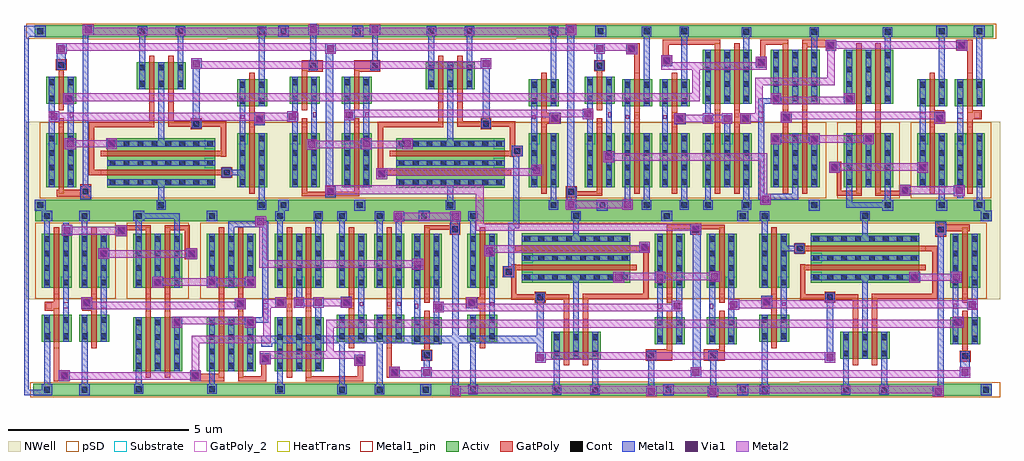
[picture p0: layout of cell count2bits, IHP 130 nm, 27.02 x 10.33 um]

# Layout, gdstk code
from math import pi, radians
import gdstk
lib = gdstk.Library(unit=1e-6, precision=5e-09)
def R(c, l, rs):  # rectangles x0, y0, x1, y1
    for r in rs: c.add(gdstk.rectangle(r[:2], r[2:], *l))
def A(c, l, x, y, w, h, nx, ny, dx, dy):  # array of equal rectangles
    R(c, l, [(x+i*dx, y+j*dy, x+i*dx+w, y+j*dy+h) for i in range(nx) for j in range(ny)])
def P(c, l, *ps):  # polygons
    for p in ps: c.add(gdstk.Polygon(p, *l))
Activ = (1, 0)
GatPoly = (5, 0)
GatPoly_2 = (5, 2)
Cont = (6, 0)
Metal1 = (8, 0)
Metal1_pin = (8, 2)
Metal2 = (10, 0)
pSD = (14, 0)
Via1 = (19, 0)
NWell = (31, 0)
Substrate = (40, 0)
HeatTrans = (51, 0)

nmos_1_1 = lib.new_cell('nmos$1$1')
R(nmos_1_1, Activ, [(0,0,0.3,0.3), (0,0,0.83,1.5), (0.53,0,0.83,0.3)])
R(nmos_1_1, GatPoly, [(0.34,-0.18,0.49,1.68)])
R(nmos_1_1, GatPoly_2, [(0.34,-0.18,0.49,1.68)])
A(nmos_1_1, Cont, 0.07, 0.07, 0.16, 0.16, 1, 4, 0, 0.4)
A(nmos_1_1, Cont, 0.6, 0.07, 0.16, 0.16, 1, 4, 0, 0.4)
R(nmos_1_1, Metal1, [(0.07,0,0.23,1.5), (0.6,0,0.76,1.5)])
R(nmos_1_1, Metal1_pin, [(0.07,0,0.23,1.5), (0.6,0,0.76,1.5)])
R(nmos_1_1, HeatTrans, [(0.34,-0.18,0.49,1.68)])
nmos_1_1.add(gdstk.Label('nmos', (0.415,0.75), layer=63, texttype=0))
nmos_1_1.add(gdstk.Label('nmos', (0.415,0.75), layer=51, texttype=0))

pmos_4 = lib.new_cell('pmos$4')
R(pmos_4, Activ, [(0,0,0.3,0.3), (0,0,0.83,1.5), (0.53,0,0.83,0.3)])
R(pmos_4, GatPoly, [(0.34,-0.18,0.49,1.68), (0.34,-0.18,0.49,1.68)])
A(pmos_4, Cont, 0.07, 0.07, 0.16, 0.16, 1, 4, 0, 0.4)
A(pmos_4, Cont, 0.6, 0.07, 0.16, 0.16, 1, 4, 0, 0.4)
R(pmos_4, Metal1, [(0.07,0,0.23,1.5), (0.07,0,0.23,1.5), (0.6,0,0.76,1.5), (0.6,0,0.76,1.5)])
R(pmos_4, pSD, [(-0.18,-0.3,1.01,1.8)])
R(pmos_4, NWell, [(-0.31,-0.31,1.14,1.81)])
R(pmos_4, Substrate, [(0.53,0,0.83,0.3)])
R(pmos_4, HeatTrans, [(0.34,-0.18,0.49,1.68)])
pmos_4.add(gdstk.Label('pmos', (0.415,0.75), layer=63, texttype=0))
pmos_4.add(gdstk.Label('pmos', (0.415,0.75), layer=51, texttype=0))

nmos = lib.new_cell('nmos')
R(nmos, Activ, [(0,0,0.3,0.3), (0,0,0.83,0.75), (0.53,0,0.83,0.3)])
R(nmos, GatPoly, [(0.34,-0.18,0.49,0.93)])
R(nmos, GatPoly_2, [(0.34,-0.18,0.49,0.93)])
R(nmos, Cont, [(0.07,0.07,0.23,0.23), (0.6,0.07,0.76,0.23), (0.07,0.52,0.23,0.68), (0.6,0.52,0.76,0.68)])
R(nmos, Metal1, [(0.07,0,0.23,0.75), (0.6,0,0.76,0.75)])
R(nmos, Metal1_pin, [(0.07,0,0.23,0.75), (0.6,0,0.76,0.75)])
R(nmos, HeatTrans, [(0.34,-0.18,0.49,0.93)])
nmos.add(gdstk.Label('nmos', (0.415,0.375), layer=63, texttype=0))
nmos.add(gdstk.Label('nmos', (0.415,0.375), layer=51, texttype=0))

pmos_1 = lib.new_cell('pmos$1')
R(pmos_1, Activ, [(0,0,0.3,0.3), (0,0,0.83,1.5), (0.53,0,0.83,0.3)])
R(pmos_1, GatPoly, [(0.34,-0.18,0.49,1.68), (0.34,-0.18,0.49,1.68)])
A(pmos_1, Cont, 0.07, 0.07, 0.16, 0.16, 1, 4, 0, 0.4)
A(pmos_1, Cont, 0.6, 0.07, 0.16, 0.16, 1, 4, 0, 0.4)
R(pmos_1, Metal1, [(0.07,0,0.23,1.5), (0.07,0,0.23,1.5), (0.6,0,0.76,1.5), (0.6,0,0.76,1.5)])
R(pmos_1, pSD, [(-0.18,-0.3,1.01,1.8)])
R(pmos_1, NWell, [(-0.31,-0.31,1.14,1.81)])
R(pmos_1, Substrate, [(0.53,0,0.83,0.3)])
R(pmos_1, HeatTrans, [(0.34,-0.18,0.49,1.68)])
pmos_1.add(gdstk.Label('pmos', (0.415,0.75), layer=63, texttype=0))
pmos_1.add(gdstk.Label('pmos', (0.415,0.75), layer=51, texttype=0))

inverter = lib.new_cell('inverter')
R(inverter, Activ, [(-0.925,-2.62,0.525,-2.29), (-0.925,2.205,0.525,2.505)])
R(inverter, GatPoly, [(-0.275,-0.195,-0.125,0.185)])
R(inverter, GatPoly_2, [(-0.25,-0.14,-0.155,-0.04)])
R(inverter, Cont, [(-0.545,-2.535,-0.385,-2.375), (-0.545,-2.535,-0.385,-2.375), (-0.545,2.275,-0.385,2.435)])
R(inverter, Metal1, [(-0.595,-2.585,-0.335,-2.325), (-0.545,-2.325,-0.385,-0.845), (-0.015,-0.375,0.145,0.365), (-0.545,1.865,-0.385,2.275), (-0.595,2.225,-0.335,2.485)])
R(inverter, Metal1_pin, [(0.02,-0.135,0.12,-0.03)])
R(inverter, pSD, [(-0.925,-2.66,0.525,-2.245)])
R(inverter, NWell, [(-0.925,2.175,0.525,2.745)])
inverter.add(gdstk.Reference(nmos, (-0.615,-1.125)))
inverter.add(gdstk.Reference(pmos_1, (-0.615,0.365)))
inverter.add(gdstk.Label('vss', (-0.475,-2.43), layer=8, texttype=2))
inverter.add(gdstk.Label('vdd', (-0.465,2.355), layer=8, texttype=2))
inverter.add(gdstk.Label('out', (0.06,-0.09), layer=8, texttype=2))
inverter.add(gdstk.Label('in', (-0.205,-0.09), layer=5, texttype=2))

andgate = lib.new_cell('andgate')
R(andgate, Activ, [(-0.62,-2.62,1.185,-2.29), (-0.685,2.205,1.235,2.505)])
R(andgate, GatPoly, [(-0.275,-0.265,-0.125,0.185), (0.255,-0.265,0.405,0.185), (1.23,-0.19,1.445,0.11)])
R(andgate, GatPoly_2, [(0.26,-0.185,0.39,-0.065), (-0.25,-0.18,-0.16,-0.07)])
R(andgate, Cont, [(-0.545,-2.52,-0.385,-2.36), (-0.545,-2.52,-0.385,-2.36), (1.3,-0.12,1.46,0.04), (-0.545,2.275,-0.385,2.435), (0.515,2.275,0.675,2.435)])
R(andgate, Metal1, [(-0.595,-2.57,-0.335,-2.31), (-0.545,-2.36,-0.385,-1.945), (0.515,-0.445,0.675,-0.185), (-0.08,-0.185,0.21,0.105), (0.45,-0.185,0.74,0.105), (1.215,-0.185,1.525,0.115), (-0.015,0.105,0.145,0.365), (-0.545,1.865,-0.385,2.275), (0.515,1.865,0.675,2.435), (-0.595,2.225,-0.335,2.485), (0.465,2.225,0.725,2.485)])
R(andgate, Metal1_pin, [(-0.545,2.275,-0.385,2.435)])
P(andgate, Metal1_pin, [(-0.545,-2.31),(-0.545,-2.31),(-0.385,-2.31),(-0.385,-2.31)])
R(andgate, Metal2, [(-0.08,-0.185,0.21,0.105), (0.45,-0.185,0.74,0.105), (1.235,-0.185,1.525,0.105), (0.21,-0.14,0.45,0.06), (0.74,-0.14,1.235,0.06)])
R(andgate, pSD, [(-0.925,-2.66,1.105,-2.245)])
R(andgate, Via1, [(-0.03,-0.135,0.16,0.055), (0.5,-0.135,0.69,0.055), (1.285,-0.135,1.475,0.055)])
R(andgate, NWell, [(-0.925,2.175,1.105,2.745)])
andgate.add(gdstk.Reference(nmos_1_1, (0.745,-0.445), rotation=pi))
andgate.add(gdstk.Reference(pmos_4, (-0.085,0.365)))
andgate.add(gdstk.Reference(pmos_4, (-0.615,0.365)))
andgate.add(gdstk.Reference(nmos_1_1, (-0.615,-1.945)))
andgate.add(gdstk.Reference(inverter, (1.72,0)))
andgate.add(gdstk.Label('vdd', (-0.475,2.38), layer=8, texttype=2))
andgate.add(gdstk.Label('vss', (-0.485,-2.425), layer=8, texttype=2))
andgate.add(gdstk.Label('b', (-0.18,-0.13), layer=5, texttype=2))
andgate.add(gdstk.Label('a', (0.325,-0.125), layer=5, texttype=2))

nmos_1 = lib.new_cell('nmos$1')
R(nmos_1, Activ, [(0,0,0.3,0.3), (0,0,0.83,1.5), (0.53,0,0.83,0.3)])
R(nmos_1, GatPoly, [(0.34,-0.18,0.49,1.68)])
R(nmos_1, GatPoly_2, [(0.34,-0.18,0.49,1.68)])
A(nmos_1, Cont, 0.07, 0.07, 0.16, 0.16, 1, 4, 0, 0.4)
A(nmos_1, Cont, 0.6, 0.07, 0.16, 0.16, 1, 4, 0, 0.4)
R(nmos_1, Metal1, [(0.07,0,0.23,1.5), (0.6,0,0.76,1.5)])
R(nmos_1, Metal1_pin, [(0.07,0,0.23,1.5), (0.6,0,0.76,1.5)])
R(nmos_1, HeatTrans, [(0.34,-0.18,0.49,1.68)])
nmos_1.add(gdstk.Label('nmos', (0.415,0.75), layer=63, texttype=0))
nmos_1.add(gdstk.Label('nmos', (0.415,0.75), layer=51, texttype=0))

pmos = lib.new_cell('pmos')
R(pmos, Activ, [(0,0,0.3,0.3), (0,0,0.83,1.5), (0.53,0,0.83,0.3)])
R(pmos, GatPoly, [(0.34,-0.18,0.49,1.68), (0.34,-0.18,0.49,1.68)])
A(pmos, Cont, 0.07, 0.07, 0.16, 0.16, 1, 4, 0, 0.4)
A(pmos, Cont, 0.6, 0.07, 0.16, 0.16, 1, 4, 0, 0.4)
R(pmos, Metal1, [(0.07,0,0.23,1.5), (0.07,0,0.23,1.5), (0.6,0,0.76,1.5), (0.6,0,0.76,1.5)])
R(pmos, pSD, [(-0.18,-0.3,1.01,1.8)])
R(pmos, NWell, [(-0.31,-0.31,1.14,1.81)])
R(pmos, Substrate, [(0.53,0,0.83,0.3)])
R(pmos, HeatTrans, [(0.34,-0.18,0.49,1.68)])
pmos.add(gdstk.Label('pmos', (0.415,0.75), layer=63, texttype=0))
pmos.add(gdstk.Label('pmos', (0.415,0.75), layer=51, texttype=0))

nmos_4 = lib.new_cell('nmos$4')
R(nmos_4, Activ, [(0,0,0.3,0.3), (0,0,0.83,0.75), (0.53,0,0.83,0.3)])
R(nmos_4, GatPoly, [(0.34,-0.18,0.49,0.93)])
R(nmos_4, GatPoly_2, [(0.34,-0.18,0.49,0.93)])
R(nmos_4, Cont, [(0.07,0.07,0.23,0.23), (0.6,0.07,0.76,0.23), (0.07,0.52,0.23,0.68), (0.6,0.52,0.76,0.68)])
R(nmos_4, Metal1, [(0.07,0,0.23,0.75), (0.6,0,0.76,0.75)])
R(nmos_4, Metal1_pin, [(0.07,0,0.23,0.75), (0.6,0,0.76,0.75)])
R(nmos_4, HeatTrans, [(0.34,-0.18,0.49,0.93)])
nmos_4.add(gdstk.Label('nmos', (0.415,0.375), layer=63, texttype=0))
nmos_4.add(gdstk.Label('nmos', (0.415,0.375), layer=51, texttype=0))

pmos_4_1 = lib.new_cell('pmos$4$1')
R(pmos_4_1, Activ, [(0,0,0.3,0.3), (0,0,0.83,1.5), (0.53,0,0.83,0.3)])
R(pmos_4_1, GatPoly, [(0.34,-0.18,0.49,1.68), (0.34,-0.18,0.49,1.68)])
A(pmos_4_1, Cont, 0.07, 0.07, 0.16, 0.16, 1, 4, 0, 0.4)
A(pmos_4_1, Cont, 0.6, 0.07, 0.16, 0.16, 1, 4, 0, 0.4)
R(pmos_4_1, Metal1, [(0.07,0,0.23,1.5), (0.07,0,0.23,1.5), (0.6,0,0.76,1.5), (0.6,0,0.76,1.5)])
R(pmos_4_1, pSD, [(-0.18,-0.3,1.01,1.8)])
R(pmos_4_1, NWell, [(-0.31,-0.31,1.14,1.81)])
R(pmos_4_1, Substrate, [(0.53,0,0.83,0.3)])
R(pmos_4_1, HeatTrans, [(0.34,-0.18,0.49,1.68)])
pmos_4_1.add(gdstk.Label('pmos', (0.415,0.75), layer=63, texttype=0))
pmos_4_1.add(gdstk.Label('pmos', (0.415,0.75), layer=51, texttype=0))

inverter_3 = lib.new_cell('inverter$3')
R(inverter_3, Activ, [(-0.845,-2.62,0.395,-2.29), (-0.795,2.205,0.285,2.505)])
R(inverter_3, GatPoly, [(-0.525,-0.265,-0.275,-0.015), (-0.275,-0.195,-0.125,0.185)])
R(inverter_3, GatPoly_2, [(-0.485,-0.215,-0.325,-0.055)])
R(inverter_3, Cont, [(-0.545,-2.535,-0.385,-2.375), (-0.545,-2.535,-0.385,-2.375), (-0.545,2.275,-0.385,2.435)])
R(inverter_3, Metal1, [(-0.545,-2.535,-0.38,-0.845), (-0.015,-0.375,0.145,0.365), (-0.545,1.865,-0.385,2.435)])
R(inverter_3, Metal1_pin, [(-0.015,-0.195,0.145,-0.035)])
R(inverter_3, pSD, [(-0.925,-2.66,0.525,-2.245)])
R(inverter_3, NWell, [(-0.925,2.175,0.525,2.745)])
inverter_3.add(gdstk.Reference(nmos_4, (-0.615,-1.125)))
inverter_3.add(gdstk.Reference(pmos_4_1, (-0.615,0.365)))
inverter_3.add(gdstk.Label('vss', (-0.475,-2.43), layer=8, texttype=2))
inverter_3.add(gdstk.Label('vdd', (-0.465,2.355), layer=8, texttype=2))
inverter_3.add(gdstk.Label('out', (0.06,-0.09), layer=8, texttype=2))
inverter_3.add(gdstk.Label('in', (-0.45,-0.11), layer=5, texttype=2))

xorgate = lib.new_cell('xorgate')
R(xorgate, Activ, [(-5.415,-2.62,1.055,-2.29), (-0.845,-2.62,1.055,-2.29), (-5.27,2.205,1.055,2.505)])
R(xorgate, GatPoly, [(-1.075,-2.22,-0.775,-1.92), (-0.775,-2.22,-0.125,-2.015), (-4.845,-2.215,-4.695,-1.305), (-4.705,-2.215,-4.4,-1.915), (-2.305,-0.265,-2.155,0.185), (-1.775,-0.265,-1.625,0.185), (-0.275,-0.265,-0.125,0.185), (0.255,-0.265,0.405,0.185), (0.165,-0.225,0.465,0.075), (-4.085,-0.195,-3.785,0.105), (-1.215,1.16,-1.085,2.095), (-1.175,1.16,-0.875,1.46), (-3.125,1.795,-2.825,2.095), (-3.07,1.85,-2.88,2.04), (-2.825,1.965,-2.155,2.095), (-1.775,1.965,-1.215,2.095)])
R(xorgate, GatPoly_2, [(-5.055,-0.215,-4.895,-0.055)])
R(xorgate, Cont, [(-2.575,-2.52,-2.415,-2.36), (-0.545,-2.52,-0.385,-2.36), (-1.005,-2.15,-0.845,-1.99), (-4.63,-2.145,-4.47,-1.985), (0.235,-0.155,0.395,0.005), (-4.015,-0.125,-3.855,0.035), (-1.105,1.23,-0.945,1.39), (-3.055,1.865,-2.895,2.025), (-2.575,2.275,-2.415,2.435), (-0.545,2.275,-0.385,2.435)])
R(xorgate, Metal1, [(-5.185,-2.605,-4.885,-2.305), (-4.145,-2.605,-3.845,-2.305), (-2.625,-2.57,-2.365,-2.31), (-0.595,-2.57,-0.335,-2.31), (-2.575,-2.52,-2.415,-0.445), (-0.545,-2.52,-0.385,-1.715), (-1.075,-2.22,-0.775,-1.92), (-4.705,-2.215,-4.405,-1.915), (-1.005,-2.15,-0.845,-1.99), (-4.63,-2.145,-4.47,-1.985), (0.445,-0.745,0.745,-0.445), (-1.585,-0.74,-1.285,-0.44), (0.675,-0.605,0.925,-0.445), (0.925,-0.605,1.085,-0.225), (0.165,-0.225,0.465,0.075), (0.925,-0.225,1.085,2.045), (-4.085,-0.195,-3.785,0.105), (0.235,-0.155,0.395,0.005), (-4.015,-0.125,-3.855,0.035), (-2.575,0.365,-2.415,2.435), (-2.115,0.365,-1.815,0.665), (-0.615,0.365,-0.315,0.665), (0.445,0.365,0.745,0.665), (-1.175,1.16,-0.875,1.46), (-3.615,1.165,-3.315,1.465), (-1.105,1.23,-0.945,1.39), (-3.125,1.795,-2.825,2.095), (-4.63,1.805,-4.33,2.105), (-4.585,1.865,-4.425,2.165), (-3.055,1.865,-2.895,2.025), (-2.575,1.865,-2.415,2.435), (-1.515,1.865,-1.355,2.435), (-0.015,1.865,0.145,2.045), (-0.015,2.045,1.085,2.205), (-5.185,2.205,-4.885,2.505), (-4.145,2.205,-3.845,2.505), (-2.645,2.205,-2.345,2.505), (-0.615,2.205,-0.315,2.505), (-2.575,2.275,-1.355,2.435), (-0.545,2.275,-0.385,2.435)])
R(xorgate, Metal1_pin, [(-2.575,-2.52,-2.415,-2.355), (0.925,-0.225,1.085,-0.065), (-2.575,2.275,-2.415,2.435), (-0.545,2.275,-0.385,2.435)])
R(xorgate, Metal2, [(-1.075,-2.22,-0.775,-1.92), (-4.705,-2.215,-4.405,-1.915), (-4.405,-2.18,-1.075,-1.97), (0.445,-0.745,0.745,-0.445), (-1.585,-0.74,-1.285,-0.44), (-1.515,-0.65,0.675,-0.44), (-4.085,-0.225,0.405,-0.015), (0.165,-0.225,0.465,0.075), (-4.085,-0.195,-3.785,0.105), (-2.115,0.365,-1.815,0.665), (-0.615,0.365,-0.315,0.665), (0.445,0.365,0.745,0.665), (-0.53,0.415,0.675,0.625), (-2.045,0.42,-0.385,0.63), (-1.175,1.16,-0.875,1.46), (-3.615,1.165,-3.315,1.465), (-3.56,1.195,-2.94,1.405), (-2.94,1.195,-0.915,1.405), (-3.125,1.795,-2.825,2.095), (-4.63,1.805,-4.33,2.105), (-4.33,1.84,-3.125,2.05)])
R(xorgate, pSD, [(-5.495,-2.66,-0.925,-2.245), (-0.925,-2.66,1.055,-2.245)])
R(xorgate, Via1, [(-1.02,-2.165,-0.83,-1.975), (-4.645,-2.16,-4.455,-1.97), (0.5,-0.69,0.69,-0.5), (0.5,-0.69,0.69,-0.5), (-1.53,-0.685,-1.34,-0.495), (0.22,-0.17,0.41,0.02), (-4.03,-0.14,-3.84,0.05), (-2.06,0.425,-1.87,0.615), (0.51,0.425,0.7,0.615), (-0.56,0.44,-0.37,0.63), (-3.56,1.215,-3.37,1.405), (-1.12,1.215,-0.93,1.405), (-3.07,1.85,-2.88,2.04), (-4.575,1.855,-4.385,2.045)])
R(xorgate, NWell, [(-5.605,0.055,1.055,2.745), (-0.925,2.175,1.055,2.745)])
xorgate.add(gdstk.Reference(nmos_1, (0.745,-0.445), rotation=pi))
xorgate.add(gdstk.Reference(nmos_1, (-0.615,-1.945)))
xorgate.add(gdstk.Reference(pmos, (-0.615,0.365)))
xorgate.add(gdstk.Reference(pmos, (-0.085,0.365)))
xorgate.add(gdstk.Reference(pmos, (-2.645,0.365)))
xorgate.add(gdstk.Reference(nmos_1, (-1.285,-0.445), rotation=pi))
xorgate.add(gdstk.Reference(nmos_1, (-2.645,-1.945)))
xorgate.add(gdstk.Reference(inverter_3, (-3.53,0)))
xorgate.add(gdstk.Reference(pmos, (-2.115,0.365)))
xorgate.add(gdstk.Reference(inverter_3, (-4.57,0)))
xorgate.add(gdstk.Label('out', (1.005,-0.15), layer=8, texttype=2))
xorgate.add(gdstk.Label('vss', (-5.035,-2.455), layer=8, texttype=2))
xorgate.add(gdstk.Label('vdd', (-5.035,2.355), layer=8, texttype=2))
xorgate.add(gdstk.Label('vdd', (-2.505,2.38), layer=8, texttype=2))
xorgate.add(gdstk.Label('vss', (-2.515,-2.425), layer=8, texttype=2))
xorgate.add(gdstk.Label('vdd', (-0.475,2.38), layer=8, texttype=2))
xorgate.add(gdstk.Label('a', (-3.93,-0.05), layer=5, texttype=2))
xorgate.add(gdstk.Label('b', (-4.975,-0.135), layer=5, texttype=2))

nmos_5_2_3 = lib.new_cell('nmos$5$2$3')
R(nmos_5_2_3, Activ, [(0,0,0.3,0.3), (0,0,0.83,0.75), (0.53,0,0.83,0.3)])
R(nmos_5_2_3, GatPoly, [(0.34,-0.18,0.49,0.93)])
R(nmos_5_2_3, GatPoly_2, [(0.34,-0.18,0.49,0.93)])
R(nmos_5_2_3, Cont, [(0.07,0.07,0.23,0.23), (0.6,0.07,0.76,0.23), (0.07,0.52,0.23,0.68), (0.6,0.52,0.76,0.68)])
R(nmos_5_2_3, Metal1, [(0.07,0,0.23,0.75), (0.6,0,0.76,0.75)])
R(nmos_5_2_3, Metal1_pin, [(0.07,0,0.23,0.75), (0.6,0,0.76,0.75)])
R(nmos_5_2_3, HeatTrans, [(0.34,-0.18,0.49,0.93)])
nmos_5_2_3.add(gdstk.Label('nmos', (0.415,0.375), layer=63, texttype=0))
nmos_5_2_3.add(gdstk.Label('nmos', (0.415,0.375), layer=51, texttype=0))

pmos_5_1_3 = lib.new_cell('pmos$5$1$3')
R(pmos_5_1_3, Activ, [(0,0,0.3,0.3), (0,0,0.83,3), (0.53,0,0.83,0.3)])
R(pmos_5_1_3, GatPoly, [(0.34,-0.18,0.49,3.18), (0.34,-0.18,0.49,3.18)])
A(pmos_5_1_3, Cont, 0.07, 0.07, 0.16, 0.16, 1, 7, 0, 0.385)
A(pmos_5_1_3, Cont, 0.6, 0.07, 0.16, 0.16, 1, 7, 0, 0.385)
R(pmos_5_1_3, Cont, [(0.07,2.77,0.23,2.93), (0.6,2.77,0.76,2.93)])
R(pmos_5_1_3, Metal1, [(0.07,0,0.23,3), (0.07,0,0.23,3), (0.6,0,0.76,3), (0.6,0,0.76,3)])
R(pmos_5_1_3, pSD, [(-0.18,-0.3,1.01,3.3)])
R(pmos_5_1_3, NWell, [(-0.31,-0.31,1.14,3.31)])
R(pmos_5_1_3, Substrate, [(0.53,0,0.83,0.3)])
R(pmos_5_1_3, HeatTrans, [(0.34,-0.18,0.49,3.18)])
pmos_5_1_3.add(gdstk.Label('pmos', (0.415,1.5), layer=63, texttype=0))
pmos_5_1_3.add(gdstk.Label('pmos', (0.415,1.5), layer=51, texttype=0))

norgate_1_3 = lib.new_cell('norgate$1$3')
R(norgate_1_3, Activ, [(-1.48,-2.5,2.355,-2.17), (-1.47,2.325,2.355,2.625)])
R(norgate_1_3, GatPoly, [(-0.01,-0.56,0.14,0.15), (0.52,-0.56,0.67,0.17), (-1.47,0.15,0.14,0.3), (0.52,0.17,2.19,0.32), (2.19,0.17,2.34,1.645), (-1.47,0.3,-1.32,1.135), (-1.47,0.965,-1.35,1.135), (2.01,1.495,2.19,1.645)])
R(norgate_1_3, GatPoly_2, [(0.005,-0.49,0.13,-0.38), (0.535,-0.49,0.66,-0.38)])
R(norgate_1_3, Cont, [(-0.28,-2.43,-0.12,-2.27), (-0.28,-2.43,-0.12,-2.27), (0.78,-2.43,0.94,-2.27), (0.78,-2.43,0.94,-2.27), (0.255,2.395,0.415,2.555)])
R(norgate_1_3, Metal1, [(-0.335,-2.48,-0.075,-2.22), (0.725,-2.48,0.985,-2.22), (-0.28,-2.43,-0.12,-0.74), (0.78,-2.43,0.94,-0.74), (0.25,-0.74,0.41,0.695), (0.25,1.915,0.41,2.345), (0.2,2.345,0.46,2.605)])
R(norgate_1_3, Metal1_pin, [(-0.25,-2.39,-0.17,-2.3), (0.81,-2.39,0.89,-2.3), (0.255,2.395,0.415,2.555)])
R(norgate_1_3, pSD, [(-1.48,-2.54,2.355,-2.125)])
R(norgate_1_3, NWell, [(-1.47,0.315,2.355,2.865), (-1.47,2.295,2.355,2.865)])
norgate_1_3.add(gdstk.Reference(nmos_5_2_3, (1.01,-0.74), rotation=pi))
norgate_1_3.add(gdstk.Reference(nmos_5_2_3, (-0.35,-1.49)))
norgate_1_3.add(gdstk.Reference(pmos_5_1_3, (-1.17,1.985), rotation=3*pi/2))
norgate_1_3.add(gdstk.Reference(pmos_5_1_3, (-1.17,1.455), rotation=3*pi/2))
norgate_1_3.add(gdstk.Label('vdd', (0.325,2.5), layer=8, texttype=2))
norgate_1_3.add(gdstk.Label('vss', (-0.22,-2.335), layer=8, texttype=2))
norgate_1_3.add(gdstk.Label('vss', (0.84,-2.335), layer=8, texttype=2))
norgate_1_3.add(gdstk.Label('b', (0.07,-0.44), layer=5, texttype=2))
norgate_1_3.add(gdstk.Label('a', (0.6,-0.44), layer=5, texttype=2))

nmos_1_5 = lib.new_cell('nmos$1$5')
R(nmos_1_5, Activ, [(0,0,0.3,0.3), (0,0,0.83,0.75), (0.53,0,0.83,0.3)])
R(nmos_1_5, GatPoly, [(0.34,-0.18,0.49,0.93)])
R(nmos_1_5, GatPoly_2, [(0.34,-0.18,0.49,0.93)])
R(nmos_1_5, Cont, [(0.07,0.07,0.23,0.23), (0.6,0.07,0.76,0.23), (0.07,0.52,0.23,0.68), (0.6,0.52,0.76,0.68)])
R(nmos_1_5, Metal1, [(0.07,0,0.23,0.75), (0.6,0,0.76,0.75)])
R(nmos_1_5, Metal1_pin, [(0.07,0,0.23,0.75), (0.6,0,0.76,0.75)])
R(nmos_1_5, HeatTrans, [(0.34,-0.18,0.49,0.93)])
nmos_1_5.add(gdstk.Label('nmos', (0.415,0.375), layer=63, texttype=0))
nmos_1_5.add(gdstk.Label('nmos', (0.415,0.375), layer=51, texttype=0))

pmos_2_3 = lib.new_cell('pmos$2$3')
R(pmos_2_3, Activ, [(0,0,0.3,0.3), (0,0,0.83,1.5), (0.53,0,0.83,0.3)])
R(pmos_2_3, GatPoly, [(0.34,-0.18,0.49,1.68), (0.34,-0.18,0.49,1.68)])
A(pmos_2_3, Cont, 0.07, 0.07, 0.16, 0.16, 1, 4, 0, 0.4)
A(pmos_2_3, Cont, 0.6, 0.07, 0.16, 0.16, 1, 4, 0, 0.4)
R(pmos_2_3, Metal1, [(0.07,0,0.23,1.5), (0.07,0,0.23,1.5), (0.6,0,0.76,1.5), (0.6,0,0.76,1.5)])
R(pmos_2_3, pSD, [(-0.18,-0.3,1.01,1.8)])
R(pmos_2_3, NWell, [(-0.31,-0.31,1.14,1.81)])
R(pmos_2_3, Substrate, [(0.53,0,0.83,0.3)])
R(pmos_2_3, HeatTrans, [(0.34,-0.18,0.49,1.68)])
pmos_2_3.add(gdstk.Label('pmos', (0.415,0.75), layer=63, texttype=0))
pmos_2_3.add(gdstk.Label('pmos', (0.415,0.75), layer=51, texttype=0))

inverter_1_3 = lib.new_cell('inverter$1$3')
R(inverter_1_3, Activ, [(-0.925,-2.62,0.525,-2.29), (-0.925,2.205,0.525,2.505)])
R(inverter_1_3, GatPoly, [(-0.275,-0.195,-0.125,0.185)])
R(inverter_1_3, GatPoly_2, [(-0.25,-0.14,-0.155,-0.04)])
R(inverter_1_3, Cont, [(-0.545,-2.535,-0.385,-2.375), (-0.545,-2.535,-0.385,-2.375), (-0.545,2.275,-0.385,2.435)])
R(inverter_1_3, Metal1, [(-0.595,-2.585,-0.335,-2.325), (-0.545,-2.325,-0.385,-0.845), (-0.015,-0.375,0.145,0.365), (-0.545,1.865,-0.385,2.275), (-0.595,2.225,-0.335,2.485)])
R(inverter_1_3, Metal1_pin, [(0.02,-0.135,0.12,-0.03)])
R(inverter_1_3, pSD, [(-0.925,-2.66,0.525,-2.245)])
R(inverter_1_3, NWell, [(-0.925,2.175,0.525,2.745)])
inverter_1_3.add(gdstk.Reference(nmos_1_5, (-0.615,-1.125)))
inverter_1_3.add(gdstk.Reference(pmos_2_3, (-0.615,0.365)))
inverter_1_3.add(gdstk.Label('vss', (-0.475,-2.43), layer=8, texttype=2))
inverter_1_3.add(gdstk.Label('vdd', (-0.465,2.355), layer=8, texttype=2))
inverter_1_3.add(gdstk.Label('out', (0.06,-0.09), layer=8, texttype=2))
inverter_1_3.add(gdstk.Label('in', (-0.205,-0.09), layer=5, texttype=2))

nmos_5_3_3 = lib.new_cell('nmos$5$3$3')
R(nmos_5_3_3, Activ, [(0,0,0.3,0.3), (0,0,0.83,0.75), (0.53,0,0.83,0.3)])
R(nmos_5_3_3, GatPoly, [(0.34,-0.18,0.49,0.93)])
R(nmos_5_3_3, GatPoly_2, [(0.34,-0.18,0.49,0.93)])
R(nmos_5_3_3, Cont, [(0.07,0.07,0.23,0.23), (0.6,0.07,0.76,0.23), (0.07,0.52,0.23,0.68), (0.6,0.52,0.76,0.68)])
R(nmos_5_3_3, Metal1, [(0.07,0,0.23,0.75), (0.6,0,0.76,0.75)])
R(nmos_5_3_3, Metal1_pin, [(0.07,0,0.23,0.75), (0.6,0,0.76,0.75)])
R(nmos_5_3_3, HeatTrans, [(0.34,-0.18,0.49,0.93)])
nmos_5_3_3.add(gdstk.Label('nmos', (0.415,0.375), layer=63, texttype=0))
nmos_5_3_3.add(gdstk.Label('nmos', (0.415,0.375), layer=51, texttype=0))

pmos_3_3 = lib.new_cell('pmos$3$3')
R(pmos_3_3, Activ, [(0,0,0.3,0.3), (0,0,0.83,1.5), (0.53,0,0.83,0.3)])
R(pmos_3_3, GatPoly, [(0.34,-0.18,0.49,1.68), (0.34,-0.18,0.49,1.68)])
A(pmos_3_3, Cont, 0.07, 0.07, 0.16, 0.16, 1, 4, 0, 0.4)
A(pmos_3_3, Cont, 0.6, 0.07, 0.16, 0.16, 1, 4, 0, 0.4)
R(pmos_3_3, Metal1, [(0.07,0,0.23,1.5), (0.07,0,0.23,1.5), (0.6,0,0.76,1.5), (0.6,0,0.76,1.5)])
R(pmos_3_3, pSD, [(-0.18,-0.3,1.01,1.8)])
R(pmos_3_3, NWell, [(-0.31,-0.31,1.14,1.81)])
R(pmos_3_3, Substrate, [(0.53,0,0.83,0.3)])
R(pmos_3_3, HeatTrans, [(0.34,-0.18,0.49,1.68)])
pmos_3_3.add(gdstk.Label('pmos', (0.415,0.75), layer=63, texttype=0))
pmos_3_3.add(gdstk.Label('pmos', (0.415,0.75), layer=51, texttype=0))

transmissiongate_1_3 = lib.new_cell('transmissiongate$1$3')
R(transmissiongate_1_3, Activ, [(2.295,-2.62,3.745,-2.29), (2.315,2.205,3.745,2.505)])
R(transmissiongate_1_3, GatPoly, [(2.945,-0.055,3.095,0.185)])
R(transmissiongate_1_3, GatPoly_2, [(2.98,-0.43,3.09,-0.27), (2.96,-0.055,3.08,0.105)])
R(transmissiongate_1_3, Cont, [(2.91,-2.54,3.07,-2.38), (2.86,2.275,3.02,2.435)])
R(transmissiongate_1_3, Metal1, [(2.91,-2.54,3.07,-2.38), (2.91,-2.54,3.07,-2.38), (2.675,-0.445,2.835,-0.21), (3.205,-0.445,3.365,-0.21), (2.675,-0.21,2.835,0.365), (3.205,-0.21,3.365,0.365), (2.86,2.275,3.02,2.435)])
R(transmissiongate_1_3, Metal1_pin, [(2.91,-2.54,3.07,-2.38), (2.69,-0.21,2.785,-0.07), (3.205,-0.21,3.365,-0.07), (2.86,2.275,3.02,2.435)])
R(transmissiongate_1_3, pSD, [(2.295,-2.66,3.745,-2.245)])
R(transmissiongate_1_3, NWell, [(2.295,2.175,3.745,2.745)])
transmissiongate_1_3.add(gdstk.Reference(nmos_5_3_3, (2.605,-1.195)))
transmissiongate_1_3.add(gdstk.Reference(pmos_3_3, (2.605,0.365)))
transmissiongate_1_3.add(gdstk.Label('vdd', (2.93,2.38), layer=8, texttype=2))
transmissiongate_1_3.add(gdstk.Label('vss', (2.985,-2.46), layer=8, texttype=2))
transmissiongate_1_3.add(gdstk.Label('out', (3.285,-0.14), layer=8, texttype=2))
transmissiongate_1_3.add(gdstk.Label('in', (2.73,-0.14), layer=8, texttype=2))
transmissiongate_1_3.add(gdstk.Label('en', (3.015,-0.355), layer=5, texttype=2))
transmissiongate_1_3.add(gdstk.Label('noten', (3.025,0.02), layer=5, texttype=2))

nmos_5_6 = lib.new_cell('nmos$5$6')
R(nmos_5_6, Activ, [(0,0,0.3,0.3), (0,0,0.83,0.75), (0.53,0,0.83,0.3)])
R(nmos_5_6, GatPoly, [(0.34,-0.18,0.49,0.93)])
R(nmos_5_6, GatPoly_2, [(0.34,-0.18,0.49,0.93)])
R(nmos_5_6, Cont, [(0.07,0.07,0.23,0.23), (0.6,0.07,0.76,0.23), (0.07,0.52,0.23,0.68), (0.6,0.52,0.76,0.68)])
R(nmos_5_6, Metal1, [(0.07,0,0.23,0.75), (0.6,0,0.76,0.75)])
R(nmos_5_6, Metal1_pin, [(0.07,0,0.23,0.75), (0.6,0,0.76,0.75)])
R(nmos_5_6, HeatTrans, [(0.34,-0.18,0.49,0.93)])
nmos_5_6.add(gdstk.Label('nmos', (0.415,0.375), layer=63, texttype=0))
nmos_5_6.add(gdstk.Label('nmos', (0.415,0.375), layer=51, texttype=0))

pmos_8 = lib.new_cell('pmos$8')
R(pmos_8, Activ, [(0,0,0.3,0.3), (0,0,0.83,1.5), (0.53,0,0.83,0.3)])
R(pmos_8, GatPoly, [(0.34,-0.18,0.49,1.68), (0.34,-0.18,0.49,1.68)])
A(pmos_8, Cont, 0.07, 0.07, 0.16, 0.16, 1, 4, 0, 0.4)
A(pmos_8, Cont, 0.6, 0.07, 0.16, 0.16, 1, 4, 0, 0.4)
R(pmos_8, Metal1, [(0.07,0,0.23,1.5), (0.07,0,0.23,1.5), (0.6,0,0.76,1.5), (0.6,0,0.76,1.5)])
R(pmos_8, pSD, [(-0.18,-0.3,1.01,1.8)])
R(pmos_8, NWell, [(-0.31,-0.31,1.14,1.81)])
R(pmos_8, Substrate, [(0.53,0,0.83,0.3)])
R(pmos_8, HeatTrans, [(0.34,-0.18,0.49,1.68)])
pmos_8.add(gdstk.Label('pmos', (0.415,0.75), layer=63, texttype=0))
pmos_8.add(gdstk.Label('pmos', (0.415,0.75), layer=51, texttype=0))

transmissiongate_4 = lib.new_cell('transmissiongate$4')
R(transmissiongate_4, Activ, [(2.295,-2.62,3.745,-2.29), (2.315,2.205,3.745,2.505)])
R(transmissiongate_4, GatPoly, [(2.945,-0.055,3.095,0.185)])
R(transmissiongate_4, GatPoly_2, [(2.98,-0.43,3.09,-0.27), (2.96,-0.055,3.08,0.105)])
R(transmissiongate_4, Cont, [(3.52,-2.54,3.68,-2.38), (3.52,2.275,3.68,2.435)])
R(transmissiongate_4, Metal1, [(3.52,-2.54,3.68,-2.38), (3.52,-2.54,3.68,-2.38), (2.675,-0.445,2.835,-0.21), (3.205,-0.445,3.365,-0.21), (2.675,-0.21,2.835,0.365), (3.205,-0.21,3.365,0.365), (3.52,2.275,3.68,2.435)])
R(transmissiongate_4, Metal1_pin, [(3.52,-2.54,3.68,-2.38), (2.69,-0.21,2.785,-0.07), (3.205,-0.21,3.365,-0.07), (3.52,2.275,3.68,2.435)])
R(transmissiongate_4, pSD, [(2.295,-2.66,3.745,-2.245)])
R(transmissiongate_4, NWell, [(2.295,2.175,3.745,2.745)])
transmissiongate_4.add(gdstk.Reference(nmos_5_6, (2.605,-1.195)))
transmissiongate_4.add(gdstk.Reference(pmos_8, (2.605,0.365)))
transmissiongate_4.add(gdstk.Label('vdd', (3.59,2.38), layer=8, texttype=2))
transmissiongate_4.add(gdstk.Label('vss', (3.595,-2.46), layer=8, texttype=2))
transmissiongate_4.add(gdstk.Label('out', (3.285,-0.14), layer=8, texttype=2))
transmissiongate_4.add(gdstk.Label('in', (2.73,-0.14), layer=8, texttype=2))
transmissiongate_4.add(gdstk.Label('en', (3.015,-0.355), layer=5, texttype=2))
transmissiongate_4.add(gdstk.Label('noten', (3.025,0.02), layer=5, texttype=2))

dff_3 = lib.new_cell('dff$3')
R(dff_3, Activ, [(2.745,-2.62,19.105,-2.29), (2.745,2.205,19.105,2.505)])
R(dff_3, GatPoly, [(2.36,-2.125,2.51,-1.305), (2.51,-2.125,2.73,-1.825), (18.225,-1.675,18.525,-1.375), (3.325,-1.655,3.625,-1.355), (9.54,-1.655,10.27,-1.33), (11.14,-1.655,11.715,-1.33), (4.555,-0.2,4.94,0.105), (12.735,-0.195,13.015,0.145), (6.465,-0.045,6.765,0.255), (14.485,-0.045,14.785,0.255), (13.645,1.305,13.945,1.605), (13.685,1.38,13.925,1.53), (17.55,1.78,17.85,2.135), (4.105,1.835,4.405,2.135), (10.77,1.835,11.07,2.135), (17.65,1.935,18.275,2.125), (18.275,1.935,18.5,2.125), (3.4,1.97,4.14,2.1), (10.12,1.985,10.77,2.115), (11.07,1.985,11.715,2.115)])
P(dff_3, GatPoly, [(10.2,-1.585),(10.2,-1.375),(10.2,-1.375),(10.2,-1.585)])
R(dff_3, Cont, [(3.365,-2.54,3.525,-2.38), (3.365,-2.54,3.525,-2.38), (3.365,-2.54,3.525,-2.38), (3.365,-2.54,3.525,-2.38), (2.5,-2.055,2.66,-1.895), (18.295,-1.605,18.455,-1.445), (3.395,-1.585,3.555,-1.425), (9.61,-1.585,9.77,-1.425), (11.32,-1.585,11.48,-1.425), (4.635,-0.125,4.795,0.035), (12.805,-0.105,12.965,0.055), (6.535,0.025,6.695,0.185), (14.555,0.025,14.715,0.185), (13.715,1.375,13.875,1.535), (9.42,1.405,9.58,1.565), (17.62,1.9,17.78,2.06), (4.175,1.905,4.335,2.065), (10.84,1.905,11,2.065)])
R(dff_3, Metal1, [(11.32,-2.66,11.48,-1.405), (17.48,-2.65,17.78,-2.35), (4.125,-2.64,4.415,-2.35), (9.545,-2.64,9.835,-2.35), (11.245,-2.64,11.535,-2.35), (3.295,-2.61,3.595,-2.31), (10.015,-2.61,10.315,-2.31), (12.07,-2.61,12.37,-2.31), (18.805,-2.61,19.105,-2.31), (17.62,-2.56,17.78,1.9), (3.365,-2.54,3.525,-2.38), (3.365,-2.54,3.525,-2.38), (3.365,-2.54,3.525,-2.38), (3.365,-2.54,3.525,-2.38), (3.365,-2.54,3.525,-2.38), (3.365,-2.54,3.525,-2.38), (3.365,-2.54,3.525,-2.38), (3.365,-2.54,3.525,-2.38), (4.175,-2.35,4.365,2.33), (9.61,-2.35,9.77,-1.375), (2.43,-2.125,2.73,-1.825), (3.325,-2.125,3.615,-1.835), (10.775,-2.12,11.065,-1.83), (10.84,-2.12,11.055,1.835), (18.225,-2.12,18.515,-1.83), (3.395,-1.835,3.555,-1.405), (18.245,-1.83,18.505,-1.395), (6.47,-1.71,6.76,-1.42), (14.49,-1.705,14.78,-1.415), (3.345,-1.635,3.605,-1.375), (9.56,-1.635,9.82,-1.375), (11.27,-1.635,11.53,-1.375), (6.52,-1.595,6.71,-0.025), (14.54,-1.595,14.73,0.185), (3.655,-0.315,3.945,-0.025), (10.25,-0.285,10.54,0.005), (11.83,-0.24,12.12,0.05), (18.43,-0.24,18.72,0.05), (4.565,-0.195,4.865,0.105), (12.735,-0.195,13.035,0.145), (12.805,-0.105,12.965,0.055), (6.485,-0.025,6.745,0.235), (14.505,-0.025,14.765,0.235), (8.64,0.505,8.94,0.805), (9.78,0.505,10.08,0.805), (16.835,0.505,17.135,0.805), (17.975,0.505,18.275,0.805), (11.295,0.53,11.585,0.82), (5.06,1.24,5.36,1.54), (13.665,1.325,13.925,1.585), (9.35,1.335,9.65,1.635), (13.275,1.375,13.875,1.535), (17.55,1.83,17.85,2.195), (10.77,1.835,11.07,2.135), (4.125,1.855,4.385,2.2), (2.62,1.865,2.78,2.195), (4.16,1.885,4.345,2.115), (17.62,1.9,17.78,2.06), (2.555,2.195,2.845,2.485), (4.12,2.2,4.41,2.49), (3.25,2.205,3.55,2.505), (9.965,2.205,10.265,2.505), (12.07,2.205,12.37,2.505), (18.805,2.205,19.105,2.505)])
R(dff_3, Metal1_pin, [(3.365,-2.54,3.525,-2.38), (3.365,-2.54,3.525,-2.38), (3.365,-2.54,3.525,-2.38), (3.365,-2.54,3.525,-2.38), (6.52,-1.66,6.71,-1.47), (3.315,2.275,3.475,2.435)])
R(dff_3, Metal2, [(17.48,-2.65,17.78,-2.35), (4.125,-2.64,4.415,-2.35), (9.545,-2.64,9.835,-2.35), (11.245,-2.64,11.535,-2.35), (4.415,-2.56,11.425,-2.35), (11.13,-2.56,17.77,-2.35), (2.43,-2.125,2.73,-1.825), (2.73,-2.125,3.325,-1.915), (3.325,-2.125,3.615,-1.835), (3.615,-2.12,18.225,-1.915), (10.775,-2.12,11.065,-1.83), (18.225,-2.12,18.515,-1.83), (6.47,-1.71,6.76,-1.42), (14.49,-1.705,14.78,-1.415), (6.76,-1.63,14.49,-1.42), (3.655,-0.315,3.945,-0.025), (10.25,-0.285,10.54,0.005), (3.655,-0.28,10.545,-0.07), (11.83,-0.24,12.12,0.05), (18.43,-0.24,18.72,0.05), (12.735,-0.215,13.035,0.085), (11.82,-0.195,18.705,0.015), (4.57,-0.19,4.86,0.1), (8.64,0.505,8.94,0.805), (9.78,0.505,10.08,0.805), (16.835,0.505,17.135,0.805), (17.975,0.505,18.275,0.805), (11.295,0.53,11.585,0.82), (16.9,0.56,18.205,0.76), (8.685,0.57,11.295,0.78), (5.06,1.24,5.36,1.54), (5.13,1.335,9.35,1.545), (9.35,1.335,9.65,1.635), (2.555,2.195,2.845,2.485), (4.12,2.2,4.41,2.49), (2.845,2.235,4.12,2.445)])
R(dff_3, pSD, [(2.745,-2.66,19.105,-2.245), (2.88,0.065,18.97,2.165)])
R(dff_3, Via1, [(17.535,-2.595,17.725,-2.405), (4.175,-2.59,4.365,-2.4), (9.595,-2.59,9.785,-2.4), (11.295,-2.59,11.485,-2.4), (3.375,-2.075,3.565,-1.885), (2.485,-2.07,2.675,-1.88), (10.825,-2.07,11.015,-1.88), (18.275,-2.07,18.465,-1.88), (6.52,-1.66,6.71,-1.47), (14.54,-1.655,14.73,-1.465), (3.705,-0.265,3.895,-0.075), (10.305,-0.235,10.495,-0.045), (11.88,-0.19,12.07,0), (18.48,-0.19,18.67,0), (4.62,-0.14,4.81,0.05), (12.79,-0.12,12.98,0.07), (8.695,0.56,8.885,0.75), (9.835,0.56,10.025,0.75), (16.89,0.56,17.08,0.75), (18.03,0.56,18.22,0.75), (9.85,0.575,10.01,0.735), (11.345,0.58,11.535,0.77), (5.115,1.295,5.305,1.485), (9.405,1.39,9.595,1.58), (2.605,2.245,2.795,2.435), (4.17,2.25,4.36,2.44)])
R(dff_3, NWell, [(2.745,0.055,19.105,2.75), (2.745,2.205,19.105,2.745)])
dff_3.add(gdstk.Reference(norgate_1_3, (7.275,-0.115)))
dff_3.add(gdstk.Reference(norgate_1_3, (15.275,-0.115)))
dff_3.add(gdstk.Reference(inverter_1_3, (13.29,0)))
dff_3.add(gdstk.Reference(transmissiongate_1_3, (7.175,0)))
dff_3.add(gdstk.Reference(transmissiongate_4, (8.62,0)))
dff_3.add(gdstk.Reference(transmissiongate_4, (15.355,0)))
dff_3.add(gdstk.Reference(transmissiongate_1_3, (0.455,0)))
dff_3.add(gdstk.Reference(inverter_1_3, (5.215,0)))
dff_3.add(gdstk.Reference(inverter_1_3, (2.635,0)))
dff_3.add(gdstk.Label('rst', (6.615,-1.565), layer=8, texttype=2))
dff_3.add(gdstk.Label('vss', (3.44,-2.46), layer=8, texttype=2))
dff_3.add(gdstk.Label('vss', (3.44,-2.46), layer=8, texttype=2))
dff_3.add(gdstk.Label('vss', (3.44,-2.46), layer=8, texttype=2))
dff_3.add(gdstk.Label('vss', (3.44,-2.46), layer=8, texttype=2))
dff_3.add(gdstk.Label('vdd', (3.41,2.355), layer=8, texttype=2))

count1bit = lib.new_cell('count1bit')
R(count1bit, Activ, [(9.11,-2.62,9.315,-2.29), (9.16,-2.62,9.295,-2.61), (9.11,2.205,9.25,2.505)])
R(count1bit, GatPoly, [(8.31,-2.22,9.085,-2.085), (10.19,-2.22,10.34,-2.125), (10.34,-2.22,11.78,-2.085), (8.95,-2.085,9.085,-1.515), (11.62,-2.085,11.78,-1.79), (11.525,-1.79,11.825,-1.49), (8.91,-1.745,9.21,-1.445), (2.96,-0.265,3.21,-0.015), (9.345,-0.19,9.645,0.11), (9.645,-0.19,9.66,0.11)])
R(count1bit, Cont, [(11.595,-1.72,11.755,-1.56), (8.98,-1.675,9.14,-1.515), (9.415,-0.12,9.575,0.04)])
R(count1bit, Metal1, [(11.525,-1.79,11.825,-1.49), (8.91,-1.745,9.21,-1.445), (11.595,-1.725,11.755,-1.565), (8.98,-1.675,9.14,-1.515), (28.09,-0.735,28.39,-0.435), (9.345,-0.19,9.645,0.11), (13.13,0.865,13.43,1.165), (8.79,2.045,9.09,2.345)])
R(count1bit, Metal2, [(7.025,-1.92,7.235,-0.96), (11.525,-1.79,11.825,-1.49), (8.91,-1.745,9.21,-1.385), (8.955,-1.595,11.825,-1.385), (10.755,-1.385,10.965,-0.7), (7.025,-1.17,9.17,-0.96), (9.01,-1.17,9.22,0.055), (10.755,-0.735,28.09,-0.525), (28.09,-0.735,28.39,-0.435), (9.22,-0.19,9.345,0.055), (9.345,-0.19,9.645,0.11), (13.13,0.865,13.43,1.165), (8.89,0.92,9.1,2.1), (8.91,0.92,13.13,1.13), (8.79,2.045,9.09,2.345)])
R(count1bit, pSD, [(28.425,-2.66,28.455,-2.245), (28.425,-2.66,28.67,-2.245), (29.16,-2.66,29.4,-2.245), (8.98,0.065,9.12,0.07), (9.12,0.065,9.14,2.165), (12.05,0.065,12.205,2.165), (8.98,0.07,9.12,2.165)])
R(count1bit, Via1, [(11.58,-1.74,11.77,-1.55), (8.965,-1.69,9.155,-1.5), (28.145,-0.68,28.335,-0.49), (9.4,-0.135,9.59,0.055), (13.185,0.92,13.375,1.11), (8.845,2.1,9.035,2.29)])
R(count1bit, NWell, [(28.425,0.055,28.67,2.75), (29.16,0.055,29.4,2.745)])
count1bit.add(gdstk.Reference(andgate, (9.935,0)))
count1bit.add(gdstk.Reference(xorgate, (8.055,0)))
count1bit.add(gdstk.Reference(dff_3, (10.06,0)))

count2bits = lib.new_cell('count2bits')
R(count2bits, GatPoly, [(15.64,0.66,15.955,0.955), (15.885,4,16.185,4.3)])
R(count2bits, Cont, [(15.725,0.73,15.885,0.89), (15.955,4.07,16.115,4.23)])
R(count2bits, Metal1, [(2.385,-2.61,2.51,7.62), (2.51,-2.61,2.87,-2.455), (8.955,-1.26,9.255,-0.96), (8.955,-1.17,16.6,-0.96), (8.955,-1.14,9.115,-0.96), (15.655,0.66,15.955,0.96), (15.795,0.96,15.955,2.01), (15.795,2.01,15.93,2.17), (15.93,2.01,16.09,4.28), (15.885,4,16.185,4.3), (2.51,7.32,2.685,7.62)])
R(count2bits, Metal2, [(14.89,1.945,21.13,2.135), (14.89,1.945,15.11,3.21), (10.72,2.96,15.11,3.21)])
R(count2bits, Via1, [(20.885,1.89,21.075,2.08), (10.775,2.93,10.965,3.12)])
count2bits.add(gdstk.Reference(count1bit, (0,0)))
count2bits.add(gdstk.Reference(count1bit, (31.85,5.01), rotation=pi))

lib.write_gds('count2bits.gds')
